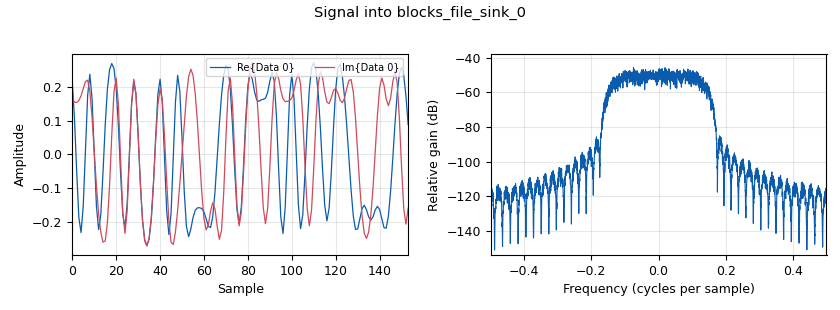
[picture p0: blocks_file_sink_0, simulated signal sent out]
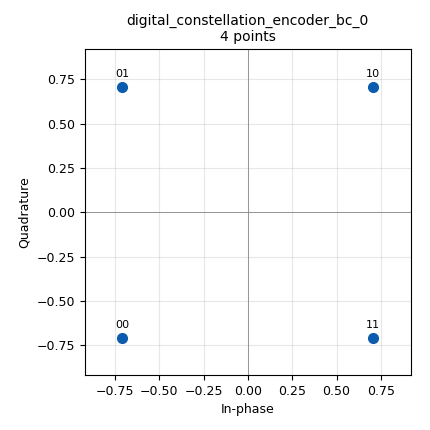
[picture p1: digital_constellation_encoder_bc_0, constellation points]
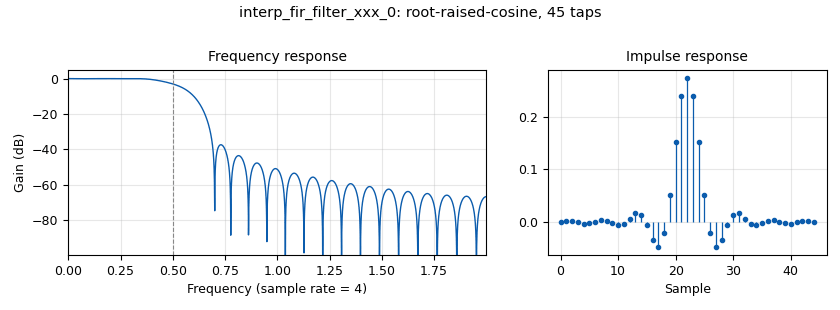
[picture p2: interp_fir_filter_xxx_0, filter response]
options:
  parameters:
    author: Daniel Estevez
    generate_options: no_gui
    id: qpsk_modulator
    output_language: python
    run_options: run
    title: QPSK Modulator
  states: {}

blocks:
- name: qpsk_constellation
  id: variable_constellation
  parameters:
    const_points: '[-1-1j, -1+1j, 1+1j, 1-1j]'
    dims: '1'
    normalization: digital.constellation.AMPLITUDE_NORMALIZATION
    precision: '8'
    rot_sym: '4'
    sym_map: '[0, 1, 3, 2]'
    type: calcdist
  states: {}
- name: sps
  id: variable
  parameters:
    value: '4'
  states: {}
- name: analog_random_source_x_0
  id: analog_random_source_x
  parameters:
    max: '4'
    min: '0'
    num_samps: 1000000 * 4
    repeat: 'True'
    type: byte
  states: {}
- name: blocks_file_sink_0
  id: blocks_file_sink
  parameters:
    file: ../../build/test_fifo
    type: complex
  states: {}
- name: digital_constellation_encoder_bc_0
  id: digital_constellation_encoder_bc
  parameters:
    constellation: qpsk_constellation
  states: {}
- name: interp_fir_filter_xxx_0
  id: interp_fir_filter_xxx
  parameters:
    interp: sps
    taps: firdes.root_raised_cosine(1, sps, 1, 0.35, 11 * sps)
    type: ccf
  states: {}

connections:
- [analog_random_source_x_0, '0', digital_constellation_encoder_bc_0, '0']
- [digital_constellation_encoder_bc_0, '0', interp_fir_filter_xxx_0, '0']
- [interp_fir_filter_xxx_0, '0', blocks_file_sink_0, '0']

metadata:
  file_format: 1
  grc_version: 3.10.9.2
